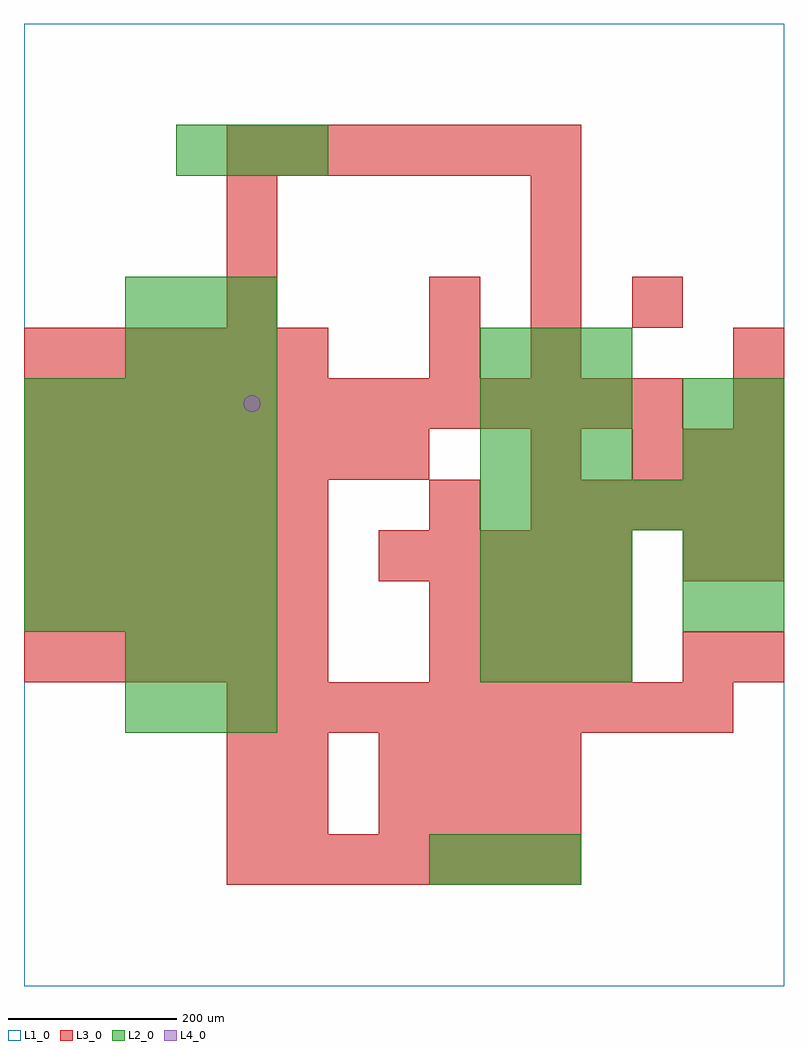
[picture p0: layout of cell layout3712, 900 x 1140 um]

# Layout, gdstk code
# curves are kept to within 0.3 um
import gdstk
lib = gdstk.Library(unit=1e-6, precision=1e-09)
def R(c, l, rs):  # rectangles x0, y0, x1, y1
    for r in rs: c.add(gdstk.rectangle(r[:2], r[2:], *l))
def A(c, l, x, y, w, h, nx, ny, dx, dy):  # array of equal rectangles
    R(c, l, [(x+i*dx, y+j*dy, x+i*dx+w, y+j*dy+h) for i in range(nx) for j in range(ny)])
def P(c, l, *ps):  # polygons
    for p in ps: c.add(gdstk.Polygon(p, *l))
L1_0 = (1, 0)
L2_0 = (2, 0)
L3_0 = (3, 0)
L4_0 = (4, 0)

layout3712 = lib.new_cell('layout3712')
R(layout3712, L1_0, [(0,0,900,1140)])
A(layout3712, L2_0, 480, 120, 60, 60, 3, 1, 60, 0)
A(layout3712, L2_0, 120, 300, 60, 60, 3, 2, 60, 60)
A(layout3712, L2_0, 540, 360, 60, 60, 3, 3, 60, 60)
A(layout3712, L2_0, 0, 420, 60, 60, 5, 5, 60, 60)
A(layout3712, L2_0, 540, 540, 60, 60, 6, 1, 60, 0)
A(layout3712, L2_0, 540, 600, 60, 60, 3, 3, 60, 60)
A(layout3712, L2_0, 120, 720, 60, 60, 3, 2, 60, 60)
A(layout3712, L2_0, 180, 960, 60, 60, 3, 1, 60, 0)
R(layout3712, L2_0, [(780,420,840,480), (840,420,900,480), (780,480,840,540), (840,480,900,540), (780,600,840,660), (840,600,900,660), (780,660,840,720), (840,660,900,720)])
A(layout3712, L3_0, 240, 120, 60, 60, 7, 2, 60, 840)
A(layout3712, L3_0, 420, 180, 60, 60, 4, 2, 60, 60)
A(layout3712, L3_0, 240, 300, 60, 60, 10, 1, 60, 0)
A(layout3712, L3_0, 0, 360, 60, 60, 6, 4, 60, 60)
A(layout3712, L3_0, 480, 360, 60, 60, 4, 2, 60, 60)
A(layout3712, L3_0, 420, 480, 60, 60, 5, 1, 60, 0)
A(layout3712, L3_0, 600, 540, 60, 60, 5, 1, 60, 0)
A(layout3712, L3_0, 0, 600, 60, 60, 8, 1, 60, 0)
A(layout3712, L3_0, 600, 600, 60, 60, 1, 3, 0, 120)
A(layout3712, L3_0, 720, 600, 60, 60, 3, 1, 60, 0)
A(layout3712, L3_0, 0, 660, 60, 60, 13, 1, 60, 0)
A(layout3712, L3_0, 0, 720, 60, 60, 6, 1, 60, 0)
A(layout3712, L3_0, 240, 780, 60, 60, 1, 3, 0, 60)
A(layout3712, L3_0, 480, 780, 60, 60, 3, 1, 120, 0)
R(layout3712, L3_0, [(240,180,300,240), (300,180,360,240), (240,240,300,300), (300,240,360,300), (780,360,840,420), (840,360,900,420), (780,480,840,540), (840,480,900,540), (480,540,540,600), (840,660,900,720), (480,720,540,780), (840,720,900,780), (600,900,660,960)])
P(layout3712, L4_0, [(280,690),(279.239,693.827),(277.071,697.071),(273.827,699.239),(270,700),(266.173,699.239),(262.929,697.071),(260.761,693.827),(260,690),(260.761,686.173),(262.929,682.929),(266.173,680.761),(270,680),(273.827,680.761),(277.071,682.929),(279.239,686.173)])

lib.write_gds('layout3712.gds')
